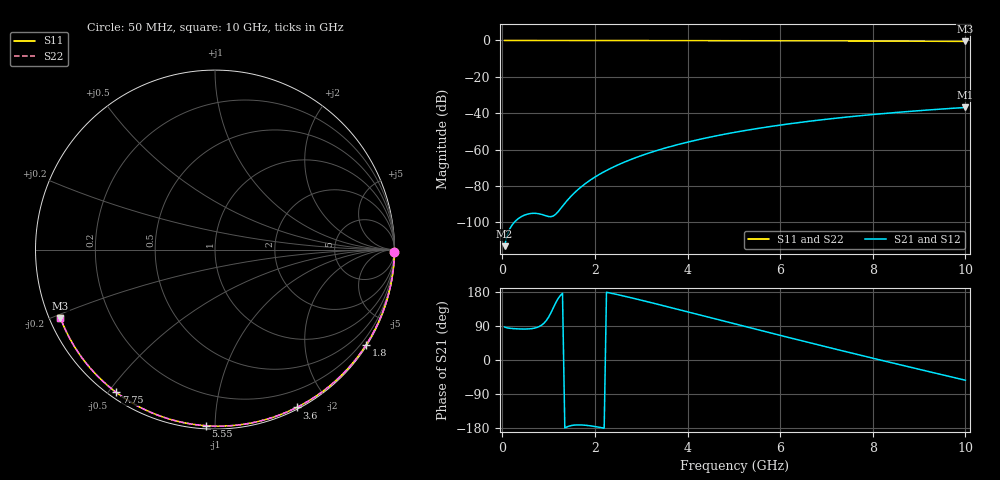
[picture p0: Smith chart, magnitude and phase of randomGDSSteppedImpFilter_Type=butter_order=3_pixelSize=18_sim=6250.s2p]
! freq	dB(S11)	phase(S11)	dB(S12)	phase(S12)
!  dB(S21)	phase(S21)	dB(S22)	phase(S22)
!S-par simulation data
#  GHz  S  DB  R 50
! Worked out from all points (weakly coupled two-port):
!   200 points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, 50 MHz to 10 GHz, reference 50 ohm
!   highest |S21| = -36.84 dB at 10 GHz (marker M1); lowest = -113.1 dB at 50 MHz (marker M2)
!   lowest |S11| = -0.5 dB at 10 GHz (marker M3), VSWR 33.26, Z = 1.57 - j10.6 ohm
!   |S11| at or under -10 dB: nowhere
!   |S22| runs from -0.5 to 0.0 dB; largest |S21 - S12| = 0
!   S11 on the Smith chart (normalised r, x): 50 MHz: open; 1.8 GHz: 0.03, -3.47; 3.6 GHz: 0.02, -1.64; 5.55 GHz: 0.02, -0.95; 7.75 GHz: 0.02, -0.52; 10 GHz: 0.03, -0.21
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0.05  -0.00 -0.9  -113.08 87.0  -113.08 87.0  -0.00 -0.9
0.45  -0.01 -8.2  -96.35 81.7  -96.35 81.7  -0.01 -8.2
0.9  -0.02 -16.3  -96.04 97.1  -96.04 97.1  -0.02 -16.3
1.7  -0.04 -30.4  -80.54 -171.4  -80.54 -171.4  -0.04 -30.4
1.75  -0.04 -31.3  -79.53 -171.7  -79.53 -171.7  -0.04 -31.3
1.8  -0.04 -32.2  -78.56 -172.3  -78.56 -172.3  -0.04 -32.2
1.95  -0.04 -34.8  -75.91 -174.6  -75.91 -174.6  -0.04 -34.8
2.1  -0.05 -37.4  -73.57 -177.6  -73.57 -177.6  -0.05 -37.4
2.3  -0.05 -40.8  -70.81 177.6  -70.81 177.6  -0.05 -40.8
2.5  -0.06 -44.2  -68.38 172.3  -68.38 172.3  -0.06 -44.2
2.9  -0.07 -51.0  -64.24 160.8  -64.24 160.8  -0.07 -51.0
3.4  -0.08 -59.3  -60.02 145.7  -60.02 145.7  -0.08 -59.3
3.6  -0.08 -62.6  -58.55 139.6  -58.55 139.6  -0.08 -62.6
4.3  -0.11 -73.8  -54.14 117.8  -54.14 117.8  -0.11 -73.8
5.05  -0.13 -85.5  -50.36 94.4  -50.36 94.4  -0.13 -85.5
5.55  -0.15 -93.0  -48.23 78.9  -48.23 78.9  -0.15 -93.0
6.1  -0.18 -101.2  -46.17 62.0  -46.17 62.0  -0.18 -101.2
6.7  -0.21 -109.8  -44.20 43.7  -44.20 43.7  -0.21 -109.8
7.75  -0.29 -124.7  -41.31 12.2  -41.31 12.2  -0.29 -124.7
8.35  -0.34 -133.1  -39.92 -5.5  -39.92 -5.5  -0.34 -133.1
9.2  -0.43 -144.9  -38.21 -30.3  -38.21 -30.3  -0.43 -144.9
10  -0.52 -156.1  -36.84 -53.4  -36.84 -53.4  -0.52 -156.1
